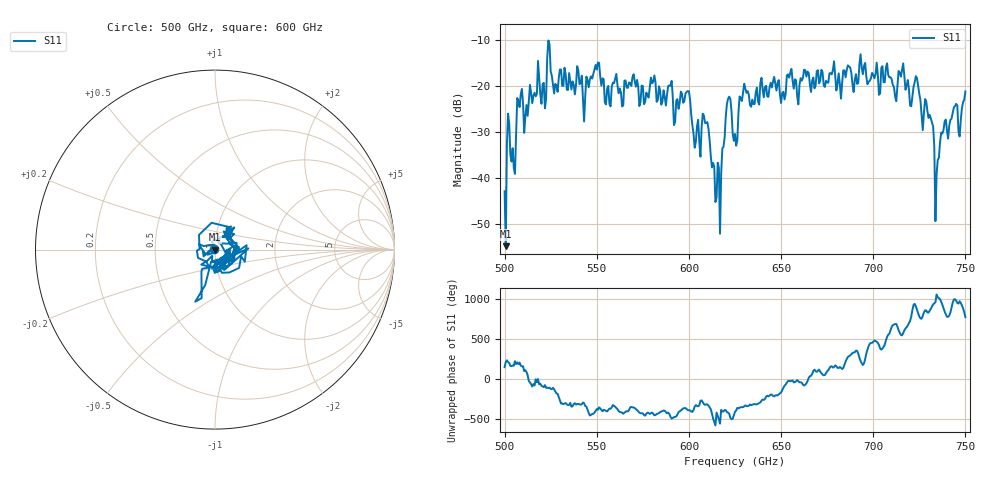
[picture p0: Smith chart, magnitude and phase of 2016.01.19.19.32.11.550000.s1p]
!Created with skrf (http://scikit-rf.org).
# GHz S RI R 50.0
!freq ReS11 ImS11
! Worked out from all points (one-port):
!   401 points, 500 GHz to 750 GHz, reference 50 ohm
!   lowest |S11| = -54.7 dB at 500.6 GHz (marker M1), VSWR 1.00, Z = 49.9 - j0.107 ohm
!   |S11| at or under -10 dB: start of sweep to end of sweep
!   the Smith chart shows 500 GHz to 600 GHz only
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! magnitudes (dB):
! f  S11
! 500 GHz  -42.8
! 500.6 GHz  -54.7
! 502.5 GHz  -28.2
! 505 GHz  -37.8
! 508.1 GHz  -24.6
! 521.2 GHz  -19.4
! 524.4 GHz  -11.0
! 527.5 GHz  -19.6
! 531.2 GHz  -20.0
! 543.8 GHz  -22.3
! 550 GHz  -16.5
! 562.5 GHz  -20.5
! 580.6 GHz  -19.1
! 593.8 GHz  -22.9
! 599.4 GHz  -21.1
! 605 GHz  -27.3
! 608.8 GHz  -28.0
! 615.6 GHz  -36.6
! 621.2 GHz  -22.8
! 625 GHz  -30.4
! 630.6 GHz  -20.6
! 656.2 GHz  -18.9
! 687.5 GHz  -16.0
! 718.8 GHz  -18.7
! 729.4 GHz  -25.4
! 734.4 GHz  -39.1
! 738.1 GHz  -29.6
! 750 GHz  -21.2
